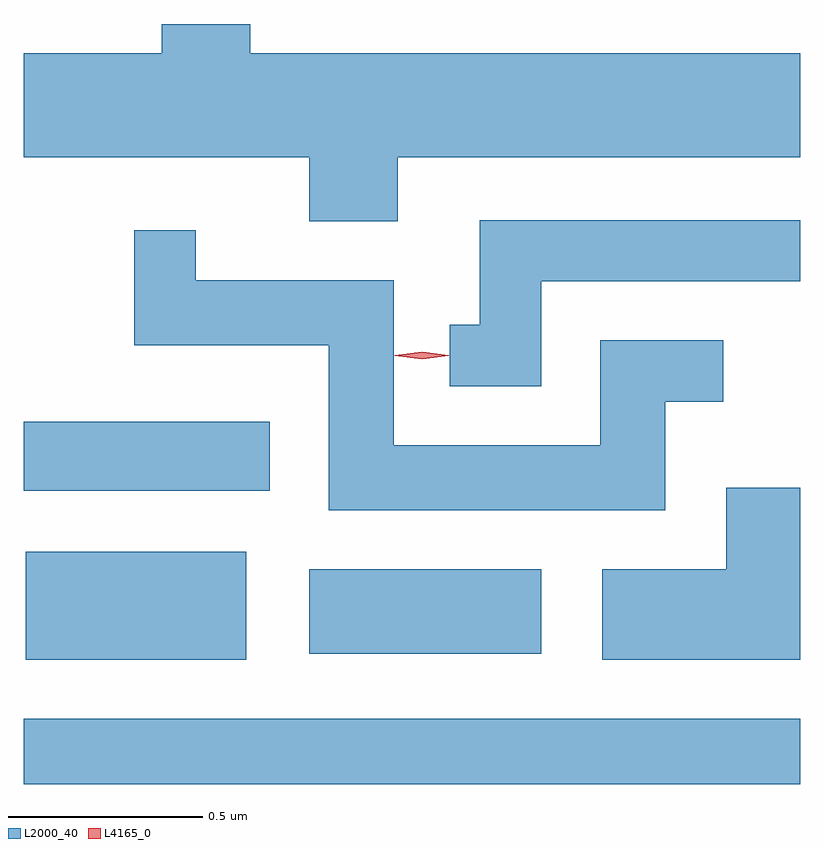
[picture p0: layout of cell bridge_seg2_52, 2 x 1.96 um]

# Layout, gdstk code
import gdstk
lib = gdstk.Library(unit=1e-6, precision=1e-09)
def R(c, l, rs):  # rectangles x0, y0, x1, y1
    for r in rs: c.add(gdstk.rectangle(r[:2], r[2:], *l))
def P(c, l, *ps):  # polygons
    for p in ps: c.add(gdstk.Polygon(p, *l))
L2000_40 = (2000, 40)
L4165_0 = (4165, 0)

bridge_seg2_52 = lib.new_cell('bridge_seg2_52')
R(bridge_seg2_52, L2000_40, [(1464.746,1055.581,1466.746,1055.749), (1464.751,1055.901,1465.319,1056.179), (1465.481,1055.916,1466.079,1056.134), (1464.746,1056.336,1465.379,1056.514)])
P(bridge_seg2_52, L2000_40, [(1465.709,1057.196),(1466.746,1057.196),(1466.746,1057.464),(1465.329,1057.464),(1465.329,1057.539),(1465.101,1057.539),(1465.101,1057.464),(1464.746,1057.464),(1464.746,1057.196),(1465.481,1057.196),(1465.481,1057.031),(1465.709,1057.031)],
  [(1466.079,1056.876),(1466.746,1056.876),(1466.746,1057.034),(1465.921,1057.034),(1465.921,1056.764),(1465.843,1056.764),(1465.843,1056.606),(1466.079,1056.606)],
  [(1466.399,1056.566),(1466.548,1056.566),(1466.548,1056.724),(1466.231,1056.724),(1466.231,1056.454),(1465.699,1056.454),(1465.699,1056.879),(1465.189,1056.879),(1465.189,1057.008),(1465.031,1057.008),(1465.031,1056.711),(1465.531,1056.711),(1465.531,1056.286),(1466.399,1056.286)],
  [(1466.746,1056.344),(1466.556,1056.344),(1466.556,1056.134),(1466.236,1056.134),(1466.236,1055.901),(1466.746,1055.901)])
P(bridge_seg2_52, L4165_0, [(1465.772,1056.675),(1465.702,1056.684),(1465.702,1056.684),(1465.702,1056.685),(1465.772,1056.694),(1465.841,1056.686),(1465.841,1056.685),(1465.841,1056.684)])

lib.write_gds('bridge_seg2_52.gds')
